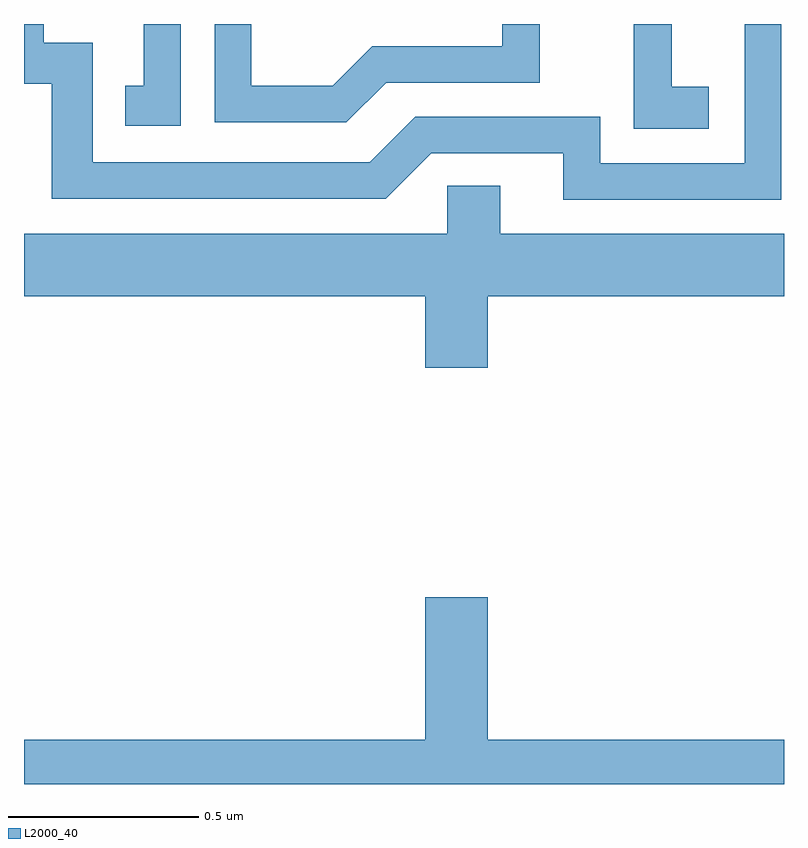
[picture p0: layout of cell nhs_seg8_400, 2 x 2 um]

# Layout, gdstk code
import gdstk
lib = gdstk.Library(unit=1e-6, precision=1e-09)
def P(c, l, *ps):  # polygons
    for p in ps: c.add(gdstk.Polygon(p, *l))
L2000_40 = (2000, 40)

nhs_seg8_400 = lib.new_cell('nhs_seg8_400')
P(nhs_seg8_400, L2000_40, [(117.993,1099.9),(117.897,1099.9),(117.897,1099.533),(117.516,1099.533),(117.516,1099.656),(117.03,1099.656),(116.91,1099.536),(116.181,1099.536),(116.181,1099.851),(116.052,1099.851),(116.052,1099.9),(116,1099.9),(116,1099.743),(116.073,1099.743),(116.073,1099.44),(116.952,1099.44),(117.072,1099.56),(117.419,1099.56),(117.419,1099.437),(117.993,1099.437)],
  [(117.802,1099.735),(117.704,1099.735),(117.704,1099.9),(117.605,1099.9),(117.605,1099.831),(117.604,1099.831),(117.604,1099.625),(117.802,1099.625)],
  [(116.953,1099.746),(117.357,1099.746),(117.357,1099.9),(117.258,1099.9),(117.258,1099.842),(116.916,1099.842),(116.812,1099.738),(116.598,1099.738),(116.598,1099.9),(116.502,1099.9),(116.502,1099.641),(116.848,1099.641)],
  [(116.412,1099.9),(116.315,1099.9),(116.315,1099.737),(116.266,1099.737),(116.266,1099.632),(116.412,1099.632)],
  [(117.22,1099.184),(118,1099.184),(118,1099.348),(117.253,1099.348),(117.253,1099.475),(117.114,1099.475),(117.114,1099.348),(116,1099.348),(116,1099.184),(117.056,1099.184),(117.056,1098.996),(117.22,1098.996)],
  [(118,1098.016),(117.22,1098.016),(117.22,1098.391),(117.056,1098.391),(117.056,1098.016),(116,1098.016),(116,1097.9),(118,1097.9)])

lib.write_gds('nhs_seg8_400.gds')
